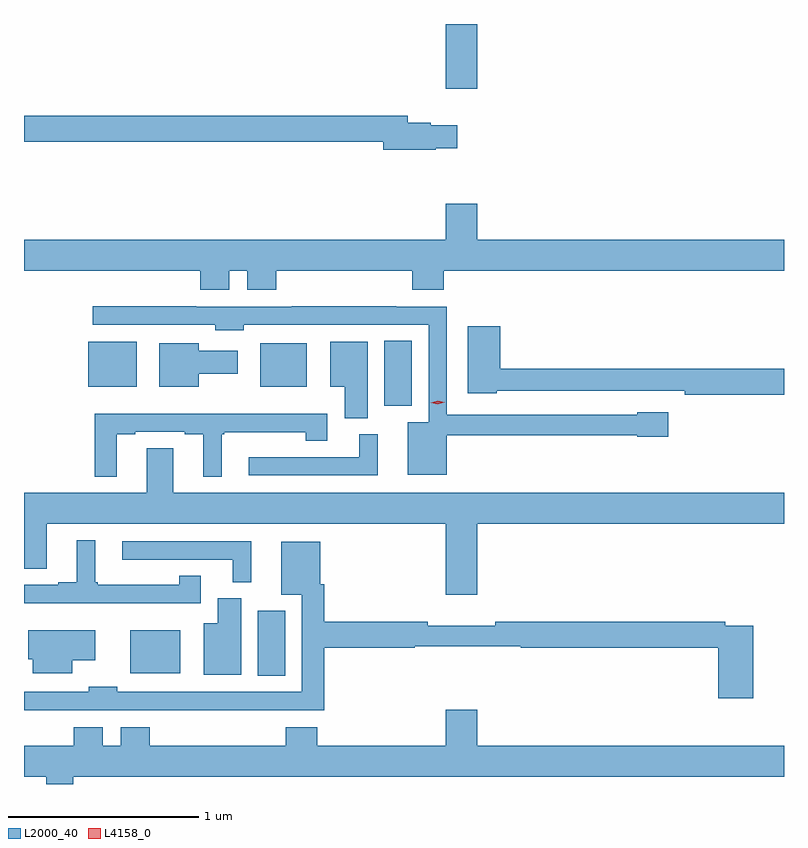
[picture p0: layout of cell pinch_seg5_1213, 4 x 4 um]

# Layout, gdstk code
import gdstk
lib = gdstk.Library(unit=1e-6, precision=1e-09)
def R(c, l, rs):  # rectangles x0, y0, x1, y1
    for r in rs: c.add(gdstk.rectangle(r[:2], r[2:], *l))
def P(c, l, *ps):  # polygons
    for p in ps: c.add(gdstk.Polygon(p, *l))
L2000_40 = (2000, 40)
L4158_0 = (4158, 0)

pinch_seg5_1213 = lib.new_cell('pinch_seg5_1213')
R(pinch_seg5_1213, L2000_40, [(463.718,899.917,463.861,900.259), (463.046,899.93,463.309,900.157), (464.384,901.337,464.527,901.679), (462.824,901.439,463.081,901.675), (463.73,901.439,463.975,901.666), (464.708,903.006,464.872,903.347)])
P(pinch_seg5_1213, L2000_40, [(464.654,902.693),(464.767,902.693),(464.767,902.815),(464.628,902.815),(464.628,902.828),(464.506,902.828),(464.506,902.864),(462.487,902.864),(462.487,902.728),(464.378,902.728),(464.378,902.686),(464.654,902.686)],
  [(463.567,902.048),(463.661,902.048),(463.661,901.949),(463.814,901.949),(463.814,902.048),(464.531,902.048),(464.531,901.949),(464.696,901.949),(464.696,902.048),(466.487,902.048),(466.487,902.212),(464.872,902.212),(464.872,902.401),(464.708,902.401),(464.708,902.212),(462.487,902.212),(462.487,902.048),(463.415,902.048),(463.415,901.949),(463.567,901.949)],
  [(464.713,901.182),(465.714,901.182),(465.714,901.174),(465.877,901.174),(465.877,901.303),(465.714,901.303),(465.714,901.29),(464.712,901.29),(464.712,901.86),(464.447,901.86),(464.447,901.862),(463.897,901.862),(463.897,901.86),(463.394,901.86),(463.394,901.862),(462.849,901.862),(462.849,901.764),(463.494,901.764),(463.494,901.736),(463.644,901.736),(463.644,901.764),(464.616,901.764),(464.616,901.252),(464.507,901.252),(464.507,900.974),(464.713,900.974)],
  [(466.487,901.532),(464.993,901.532),(464.993,901.756),(464.822,901.756),(464.822,901.403),(464.976,901.403),(464.976,901.416),(465.964,901.416),(465.964,901.396),(466.487,901.396)],
  [(464.296,901.675),(464.099,901.675),(464.099,901.439),(464.174,901.439),(464.174,901.273),(464.296,901.273)],
  [(463.408,901.505),(463.612,901.505),(463.612,901.627),(463.408,901.627),(463.408,901.666),(463.199,901.666),(463.199,901.439),(463.408,901.439)],
  [(462.976,901.188),(463.072,901.188),(463.072,901.2),(463.334,901.2),(463.334,901.188),(463.43,901.188),(463.43,900.965),(463.528,900.965),(463.528,901.188),(463.54,901.188),(463.54,901.199),(463.97,901.199),(463.97,901.153),(464.083,901.153),(464.083,901.297),(462.859,901.297),(462.859,900.965),(462.976,900.965)],
  [(464.35,901.188),(464.252,901.188),(464.252,901.068),(463.671,901.068),(463.671,900.972),(464.35,900.972)],
  [(464.872,900.716),(466.487,900.716),(466.487,900.88),(463.273,900.88),(463.273,901.115),(463.133,901.115),(463.133,900.88),(462.487,900.88),(462.487,900.481),(462.607,900.481),(462.607,900.716),(464.708,900.716),(464.708,900.342),(464.872,900.342)],
  [(463.417,900.443),(463.304,900.443),(463.304,900.397),(462.874,900.397),(462.874,900.409),(462.862,900.409),(462.862,900.631),(462.764,900.631),(462.764,900.409),(462.668,900.409),(462.668,900.396),(462.487,900.396),(462.487,900.299),(463.417,900.299)],
  [(463.684,900.624),(463.005,900.624),(463.005,900.528),(463.586,900.528),(463.586,900.409),(463.684,900.409)],
  [(462.728,899.736),(463.231,899.736),(463.231,899.735),(463.781,899.735),(463.781,899.736),(464.066,899.736),(464.066,900.064),(464.543,900.064),(464.543,900.072),(465.101,900.072),(465.101,900.064),(466.142,900.064),(466.142,899.799),(466.325,899.799),(466.325,900.18),(466.178,900.18),(466.178,900.2),(464.968,900.2),(464.968,900.181),(464.612,900.181),(464.612,900.2),(464.066,900.2),(464.066,900.398),(464.046,900.398),(464.046,900.622),(463.841,900.622),(463.841,900.344),(463.95,900.344),(463.95,899.832),(462.978,899.832),(462.978,899.86),(462.828,899.86),(462.828,899.832),(462.487,899.832),(462.487,899.735),(462.728,899.735)],
  [(463.63,900.324),(463.508,900.324),(463.508,900.193),(463.433,900.193),(463.433,899.921),(463.63,899.921)],
  [(462.742,899.999),(462.862,899.999),(462.862,900.157),(462.509,900.157),(462.509,900.003),(462.533,900.003),(462.533,899.93),(462.742,899.93)],
  [(462.746,899.384),(466.487,899.384),(466.487,899.548),(464.872,899.548),(464.872,899.737),(464.708,899.737),(464.708,899.548),(464.03,899.548),(464.03,899.647),(463.865,899.647),(463.865,899.548),(463.148,899.548),(463.148,899.647),(462.995,899.647),(462.995,899.548),(462.901,899.548),(462.901,899.647),(462.749,899.647),(462.749,899.548),(462.487,899.548),(462.487,899.384),(462.605,899.384),(462.605,899.347),(462.746,899.347)])
P(pinch_seg5_1213, L4158_0, [(464.665,901.345),(464.629,901.353),(464.629,901.353),(464.629,901.354),(464.665,901.365),(464.701,901.356),(464.701,901.356),(464.701,901.356)])

lib.write_gds('pinch_seg5_1213.gds')
